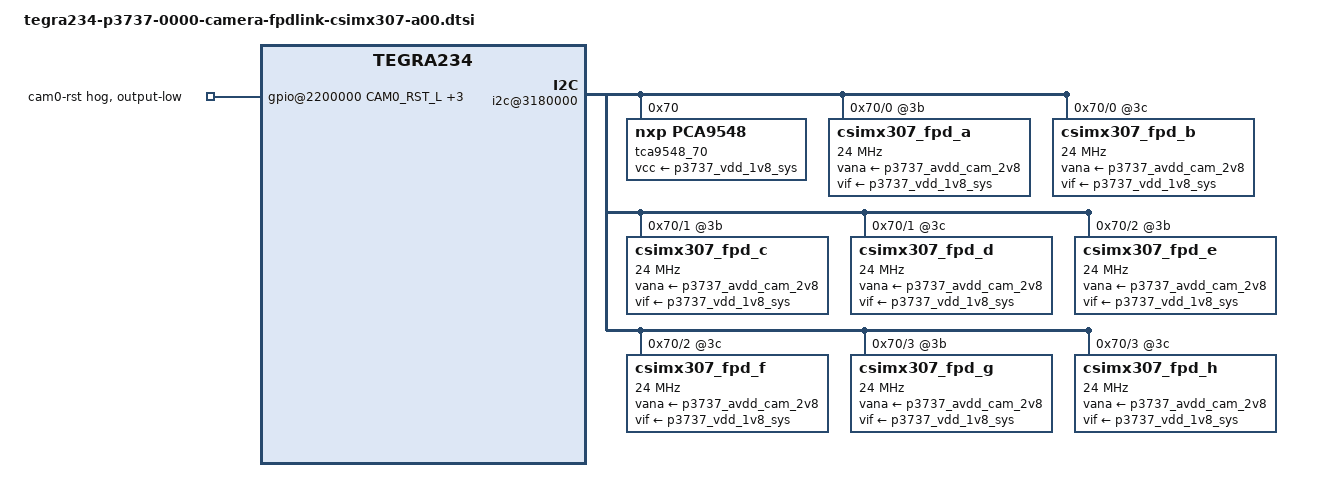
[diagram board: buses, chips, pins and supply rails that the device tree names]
/*
 * Copyright (c) 2015-2021, NVIDIA CORPORATION.  All rights reserved.
 *
 * This program is free software; you can redistribute it and/or modify it
 * under the terms and conditions of the GNU General Public License,
 * version 2, as published by the Free Software Foundation.
 *
 * This program is distributed in the hope it will be useful, but WITHOUT
 * ANY WARRANTY; without even the implied warranty of MERCHANTABILITY or
 * FITNESS FOR A PARTICULAR PURPOSE.  See the GNU General Public License for
 * more details.
 *
 * You should have received a copy of the GNU General Public License
 * along with this program.  If not, see <http://www.gnu.org/licenses/>.
 */
#include <t234-common-modules/tegra234-camera-fpdlink-csimx307-a00.dtsi>
#include "dt-bindings/clock/tegra234-clock.h"

#define CAM0_RST_L	TEGRA234_MAIN_GPIO(H, 3)
#define CAM0_PWDN	TEGRA234_MAIN_GPIO(H, 6)
#define CAM1_RST_L	TEGRA234_MAIN_GPIO(AC, 1)
#define CAM1_PWDN	TEGRA234_MAIN_GPIO(AC, 0)
#define CAMERA_I2C_MUX_BUS(x) (0x1E + x)

/ {
	gpio@2200000 {
		camera-control-output-low {
			gpio-hog;
			output-low;
			gpios = <CAM0_RST_L 0 CAM0_PWDN 0
				 CAM1_RST_L 0 CAM1_PWDN 0>;
			label = "cam0-rst", "cam0-pwdn",
				"cam1-rst", "cam1-pwdn";
		};
	};

	i2c@3180000 {
		tca9548_70: tca9548@70 {
			compatible = "nxp,pca9548";
			reg = <0x70>;
			#address-cells = <1>;
			#size-cells = <0>;
			vcc-supply = <&p3737_vdd_1v8_sys>;
			skip_mux_detect;
			force_bus_start = <CAMERA_I2C_MUX_BUS(0)>;
			i2c@0 {
				reg = <0>;
				i2c-mux,deselect-on-exit;
				#address-cells = <1>;
				#size-cells = <0>;
				csimx307_fpd_a@3b {
					clocks = <&bpmp_clks TEGRA234_CLK_EXTPERIPH1>,
						 <&bpmp_clks TEGRA234_CLK_PLLP_OUT0>;
					clock-names = "extperiph1", "pllp_grtba";
					mclk = "extperiph1";
					clock-frequency = <24000000>;
					//reset-gpios = <&tegra_main_gpio CAM0_RST_L GPIO_ACTIVE_HIGH>;
					//pwdn-gpios = <&tegra_main_gpio CAM0_PWDN GPIO_ACTIVE_HIGH>;
					vana-supply = <&p3737_avdd_cam_2v8>;
					vif-supply = <&p3737_vdd_1v8_sys>;
				};
                csimx307_fpd_b@3c {
					clocks = <&bpmp_clks TEGRA234_CLK_EXTPERIPH1>,
						 <&bpmp_clks TEGRA234_CLK_PLLP_OUT0>;
					clock-names = "extperiph1", "pllp_grtba";
					mclk = "extperiph1";
					clock-frequency = <24000000>;
					//reset-gpios = <&tegra_main_gpio CAM0_RST_L GPIO_ACTIVE_HIGH>;
					//pwdn-gpios = <&tegra_main_gpio CAM0_PWDN GPIO_ACTIVE_HIGH>;
					vana-supply = <&p3737_avdd_cam_2v8>;
					vif-supply = <&p3737_vdd_1v8_sys>;
				};
			};
			i2c@1 {
				reg = <1>;
				i2c-mux,deselect-on-exit;
				#address-cells = <1>;
				#size-cells = <0>;
				csimx307_fpd_c@3b {
					clocks = <&bpmp_clks TEGRA234_CLK_EXTPERIPH1>,
						 <&bpmp_clks TEGRA234_CLK_PLLP_OUT0>;
					clock-names = "extperiph1", "pllp_grtba";
					mclk = "extperiph1";
					clock-frequency = <24000000>;
					//reset-gpios = <&tegra_main_gpio CAM1_RST_L GPIO_ACTIVE_HIGH>;
					//pwdn-gpios = <&tegra_main_gpio CAM1_PWDN GPIO_ACTIVE_HIGH>;
					vana-supply = <&p3737_avdd_cam_2v8>;
					vif-supply = <&p3737_vdd_1v8_sys>;
				};
                csimx307_fpd_d@3c {
					clocks = <&bpmp_clks TEGRA234_CLK_EXTPERIPH1>,
						 <&bpmp_clks TEGRA234_CLK_PLLP_OUT0>;
					clock-names = "extperiph1", "pllp_grtba";
					mclk = "extperiph1";
					clock-frequency = <24000000>;
					//reset-gpios = <&tegra_main_gpio CAM1_RST_L GPIO_ACTIVE_HIGH>;
					//pwdn-gpios = <&tegra_main_gpio CAM1_PWDN GPIO_ACTIVE_HIGH>;
					vana-supply = <&p3737_avdd_cam_2v8>;
					vif-supply = <&p3737_vdd_1v8_sys>;
				};
			};
			i2c@2 {
				reg = <2>;
				i2c-mux,deselect-on-exit;
				#address-cells = <1>;
				#size-cells = <0>;
				csimx307_fpd_e@3b {
					clocks = <&bpmp_clks TEGRA234_CLK_EXTPERIPH1>,
						 <&bpmp_clks TEGRA234_CLK_PLLP_OUT0>;
					clock-names = "extperiph1", "pllp_grtba";
					mclk = "extperiph1";
					clock-frequency = <24000000>;
					//pwdn-gpios = <&tca6408_21 0 GPIO_ACTIVE_HIGH>;
					//reset-gpios = <&tca6408_21 1 GPIO_ACTIVE_HIGH>;
					vana-supply = <&p3737_avdd_cam_2v8>;
					vif-supply = <&p3737_vdd_1v8_sys>;
				};
                csimx307_fpd_f@3c {
					clocks = <&bpmp_clks TEGRA234_CLK_EXTPERIPH1>,
						 <&bpmp_clks TEGRA234_CLK_PLLP_OUT0>;
					clock-names = "extperiph1", "pllp_grtba";
					mclk = "extperiph1";
					clock-frequency = <24000000>;
					//pwdn-gpios = <&tca6408_21 0 GPIO_ACTIVE_HIGH>;
					//reset-gpios = <&tca6408_21 1 GPIO_ACTIVE_HIGH>;
					vana-supply = <&p3737_avdd_cam_2v8>;
					vif-supply = <&p3737_vdd_1v8_sys>;
				};
			};
			i2c@3 {
				reg = <3>;
				i2c-mux,deselect-on-exit;
				#address-cells = <1>;
				#size-cells = <0>;
				csimx307_fpd_g@3b {
					clocks = <&bpmp_clks TEGRA234_CLK_EXTPERIPH2>,
						 <&bpmp_clks TEGRA234_CLK_PLLP_OUT0>;
					clock-names = "extperiph2", "pllp_grtba";
					mclk = "extperiph2";
					clock-frequency = <24000000>;
					//pwdn-gpios = <&tca6408_21 2 GPIO_ACTIVE_HIGH>;
					//reset-gpios = <&tca6408_21 3 GPIO_ACTIVE_HIGH>;
					vana-supply = <&p3737_avdd_cam_2v8>;
					vif-supply = <&p3737_vdd_1v8_sys>;
				};
                csimx307_fpd_h@3c {
					clocks = <&bpmp_clks TEGRA234_CLK_EXTPERIPH2>,
						 <&bpmp_clks TEGRA234_CLK_PLLP_OUT0>;
					clock-names = "extperiph2", "pllp_grtba";
					mclk = "extperiph2";
					clock-frequency = <24000000>;
					//pwdn-gpios = <&tca6408_21 2 GPIO_ACTIVE_HIGH>;
					//reset-gpios = <&tca6408_21 3 GPIO_ACTIVE_HIGH>;
					vana-supply = <&p3737_avdd_cam_2v8>;
					vif-supply = <&p3737_vdd_1v8_sys>;
				};
			};
		};
	};
};
